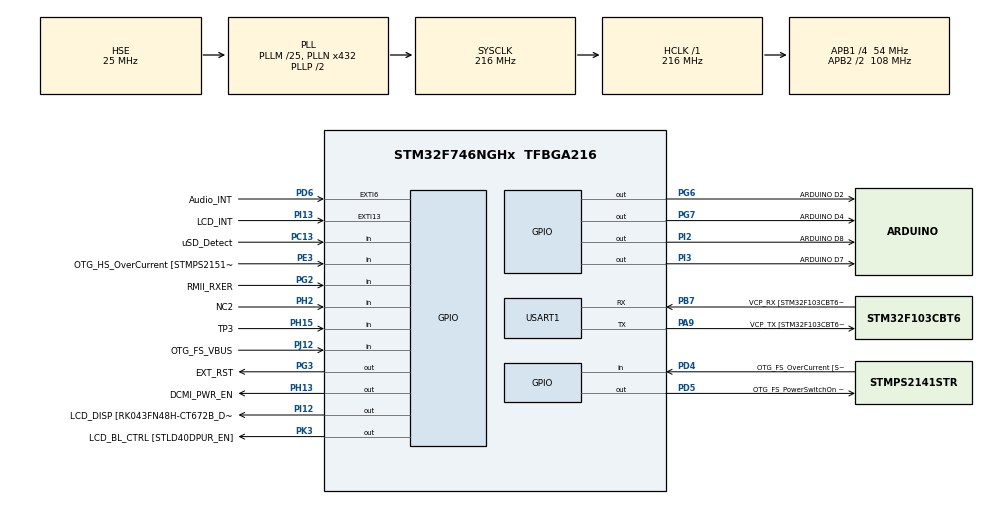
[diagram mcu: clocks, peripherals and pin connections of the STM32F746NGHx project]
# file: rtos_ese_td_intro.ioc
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FREERTOS.Tasks01=defaultTask,0,128,StartDefaultTask,Default,NULL,Dynamic,NULL,NULL
FREERTOS.configUSE_NEWLIB_REENTRANT=0
Mcu.Family=STM32F7
Mcu.Name=STM32F746NGHx
Mcu.Package=TFBGA216
NVIC.PriorityGroup=NVIC_PRIORITYGROUP_4
PA0/WKUP.GPIO_Label=ARDUINO A0
PA0/WKUP.GPIO_Mode=GPIO_MODE_ANALOG
PA0/WKUP.GPIO_PuPd=GPIO_NOPULL
PA0/WKUP.Signal=ADCx_IN0
PA1.GPIO_Label=RMII_REF_CLK [LAN8742A-CZ-TR_REFCLK0]
PA1.Signal=ETH_REF_CLK
PA10.GPIO_Label=OTG_FS_ID
PA10.Signal=USB_OTG_FS_ID
PA11.GPIO_Label=OTG_FS_N
PA11.Signal=USB_OTG_FS_DM
PA12.GPIO_Label=OTG_FS_P
PA12.Signal=USB_OTG_FS_DP
PA13.GPIO_Label=SWDIO
PA13.Mode=Serial_Wire
PA13.Signal=SYS_JTMS-SWDIO
PA14.GPIO_Label=SWCLK
PA14.Mode=Serial_Wire
PA14.Signal=SYS_JTCK-SWCLK
PA15.GPIO_Label=ARDUINO PWM/D9
PA15.GPIO_ModeDefaultPP=GPIO_MODE_AF_PP
PA15.GPIO_PuPd=GPIO_NOPULL
PA15.GPIO_Speed=GPIO_SPEED_FREQ_LOW
PA15.Signal=S_TIM2_CH1_ETR
PA2.GPIO_Label=RMII_MDIO [LAN8742A-CZ-TR_MDIO]
PA2.Signal=ETH_MDIO
PA3.GPIO_Label=ULPI_D0 [USB3320C-EZK_D0]
PA3.Signal=USB_OTG_HS_ULPI_D0
PA4.GPIO_Label=DCMI_HSYNC
PA4.Signal=DCMI_HSYNC
PA5.GPIO_Label=ULPI_CLK [USB3320C-EZK_CLKOUT]
PA5.Signal=USB_OTG_HS_ULPI_CK
PA6.Signal=DCMI_PIXCLK
PA7.GPIO_Label=RMII_CRS_DV [LAN8742A-CZ-TR_CRS_DV]
PA7.Signal=ETH_CRS_DV
PA8.GPIO_Label=ARDUINO PWM/D10
PA8.GPIO_ModeDefaultPP=GPIO_MODE_AF_PP
PA8.GPIO_PuPd=GPIO_NOPULL
PA8.GPIO_Speed=GPIO_SPEED_FREQ_LOW
PA8.Signal=S_TIM1_CH1
PA9.GPIO_Label=VCP_TX [STM32F103CBT6_PA3]
PA9.GPIO_Mode=GPIO_MODE_AF_PP
PA9.GPIO_PuPd=GPIO_NOPULL
PA9.GPIO_Speed=GPIO_SPEED_FREQ_LOW
PA9.Mode=Asynchronous
PA9.Signal=USART1_TX
PB0.GPIO_Label=ULPI_D1 [USB3320C-EZK_D1]
PB0.Signal=USB_OTG_HS_ULPI_D1
PB1.GPIO_Label=ULPI_D2 [USB3320C-EZK_D2]
PB1.Signal=USB_OTG_HS_ULPI_D2
PB10.GPIO_Label=ULPI_D3 [USB3320C-EZK_D3]
PB10.Signal=USB_OTG_HS_ULPI_D3
PB11.GPIO_Label=ULPI_D4 [USB3320C-EZK_D4]
PB11.Signal=USB_OTG_HS_ULPI_D4
PB12.GPIO_Label=ULPI_D5 [USB3320C-EZK_D5]
PB12.Signal=USB_OTG_HS_ULPI_D5
PB13.GPIO_Label=ULPI_D6 [USB3320C-EZK_D6]
PB13.Signal=USB_OTG_HS_ULPI_D6
PB14.GPIO_Label=ARDUINO MISO/D12
PB14.GPIO_Mode=GPIO_MODE_AF_PP
PB14.GPIO_PuPd=GPIO_NOPULL
PB14.GPIO_Speed=GPIO_SPEED_FREQ_LOW
PB14.Signal=SPI2_MISO
PB15.GPIO_Label=ARDUINO MOSI/PWM/D11
PB15.GPIO_Mode=GPIO_MODE_AF_PP
PB15.GPIO_PuPd=GPIO_NOPULL
PB15.GPIO_Speed=GPIO_SPEED_FREQ_LOW
PB15.Signal=SPI2_MOSI
PB2.Signal=QUADSPI_CLK
PB3.GPIO_Label=SWO
PB3.Signal=SYS_JTDO-SWO
PB4.GPIO_Label=ARDUINO PWM/D3
PB4.GPIO_ModeDefaultPP=GPIO_MODE_AF_PP
PB4.GPIO_PuPd=GPIO_NOPULL
PB4.GPIO_Speed=GPIO_SPEED_FREQ_LOW
PB4.Signal=S_TIM3_CH1
PB5.GPIO_Label=ULPI_D7 [USB3320C-EZK_D7]
PB5.Signal=USB_OTG_HS_ULPI_D7
PB6.GPIO_Label=QSPI_NCS [N25Q128A13EF840E_S]
PB6.Signal=QUADSPI_BK1_NCS
PB7.GPIO_Label=VCP_RX [STM32F103CBT6_PA2]
PB7.GPIO_Mode=GPIO_MODE_AF_PP
PB7.GPIO_PuPd=GPIO_NOPULL
PB7.GPIO_Speed=GPIO_SPEED_FREQ_LOW
PB7.Mode=Asynchronous
PB7.Signal=USART1_RX
PB8.GPIO_Label=ARDUINO SCL/D15
PB8.GPIO_Mode=GPIO_MODE_AF_OD
PB8.GPIO_PuPd=GPIO_NOPULL
PB8.GPIO_Speed=GPIO_SPEED_FREQ_LOW
PB8.Signal=I2C1_SCL
PB9.GPIO_Label=ARDUINO SDA/D14
PB9.GPIO_Mode=GPIO_MODE_AF_OD
PB9.GPIO_PuPd=GPIO_NOPULL
PB9.GPIO_Speed=GPIO_SPEED_FREQ_LOW
PB9.Signal=I2C1_SDA
PC0.GPIO_Label=ULPI_STP [USB3320C-EZK_STP]
PC0.Signal=USB_OTG_HS_ULPI_STP
PC1.GPIO_Label=RMII_MDC [LAN8742A-CZ-TR_MDC]
PC1.Signal=ETH_MDC
PC10.GPIO_Label=SDMMC_D2
PC10.Signal=SDMMC1_D2
PC11.GPIO_Label=SDMMC_D3
PC11.Signal=SDMMC1_D3
PC12.GPIO_Label=SDMMC_CK
PC12.Signal=SDMMC1_CK
PC13.GPIO_Label=uSD_Detect
PC13.Signal=GPIO_Input
PC14/OSC32_IN.GPIO_Label=RCC_OSC32_IN
PC14/OSC32_IN.Signal=RCC_OSC32_IN
PC15/OSC32_OUT.GPIO_Label=RCC_OSC32_OUT
PC15/OSC32_OUT.Signal=RCC_OSC32_OUT
PC2.GPIO_Label=ULPI_DIR [USB3320C-EZK_DIR]
PC2.Signal=USB_OTG_HS_ULPI_DIR
PC3.GPIO_Label=FMC_SDCKE0 [MT48LC4M32B2B5-6A_CKE]
PC3.Signal=FMC_SDCKE0
PC4.GPIO_Label=RMII_RXD0 [LAN8742A-CZ-TR_RXD0]
PC4.Signal=ETH_RXD0
PC5.GPIO_Label=RMII_RXD1 [LAN8742A-CZ-TR_RXD1]
PC5.Signal=ETH_RXD1
PC6.GPIO_Label=ARDUINO TX/D1
PC6.Signal=USART6_TX
PC7.GPIO_Label=ARDUINO RX/D0
PC7.Signal=USART6_RX
PC8.Signal=SDMMC1_D0
PC9.Signal=SDMMC1_D1
PD0.GPIO_Label=FMC_D2 [MT48LC4M32B2B5-6A_DQ2]
PD0.Signal=FMC_D2_DA2
PD1.GPIO_Label=FMC_D3 [MT48LC4M32B2B5-6A_DQ3]
PD1.Signal=FMC_D3_DA3
PD10.GPIO_Label=FMC_D15 [MT48LC4M32B2B5-6A_DQ15]
PD10.Signal=FMC_D15_DA15
PD11.GPIO_Label=QSPI_D0 [N25Q128A13EF840E_DQ0]
PD11.Signal=QUADSPI_BK1_IO0
PD12.GPIO_Label=QSPI_D1 [N25Q128A13EF840E_DQ1]
PD12.Signal=QUADSPI_BK1_IO1
PD13.GPIO_Label=QSPI_D3 [N25Q128A13EF840E_DQ3]
PD13.Signal=QUADSPI_BK1_IO3
PD14.GPIO_Label=FMC_D0 [MT48LC4M32B2B5-6A_DQ0]
PD14.Signal=FMC_D0_DA0
PD15.GPIO_Label=FMC_D1 [MT48LC4M32B2B5-6A_DQ1]
PD15.Signal=FMC_D1_DA1
PD2.GPIO_Label=SDMMC_D0
PD2.Signal=SDMMC1_CMD
PD3.GPIO_Label=DCMI_D5
PD3.Signal=DCMI_D5
PD4.GPIO_Label=OTG_FS_OverCurrent [STMPS2141STR_Fault]
PD4.Signal=GPIO_Input
PD5.GPIO_Label=OTG_FS_PowerSwitchOn [STMPS2141STR_EN]
PD5.PinState=GPIO_PIN_SET
PD5.Signal=GPIO_Output
PD6.GPIO_Label=Audio_INT
PD6.GPIO_ModeDefaultEXTI=GPIO_MODE_EVT_RISING
PD6.Signal=GPXTI6
PD7.GPIO_Label=SPDIF_RX0 [74LVC1G04SE_4]
PD7.Signal=SPDIFRX_IN0
PD8.GPIO_Label=FMC_D13 [MT48LC4M32B2B5-6A_DQ13]
PD8.Signal=FMC_D13_DA13
PD9.GPIO_Label=FMC_D14 [MT48LC4M32B2B5-6A_DQ14]
PD9.Signal=FMC_D14_DA14
PE0.GPIO_Label=FMC_NBL0 [MT48LC4M32B2B5-6A_DQM0]
PE0.Signal=FMC_NBL0
PE1.GPIO_Label=FMC_NBL1 [MT48LC4M32B2B5-6A_DQM1]
PE1.Signal=FMC_NBL1
PE10.GPIO_Label=FMC_D7 [MT48LC4M32B2B5-6A_DQ7]
PE10.Signal=FMC_D7_DA7
PE11.GPIO_Label=FMC_D8 [MT48LC4M32B2B5-6A_DQ8]
PE11.Signal=FMC_D8_DA8
PE12.GPIO_Label=FMC_D9 [MT48LC4M32B2B5-6A_DQ9]
PE12.Signal=FMC_D9_DA9
PE13.GPIO_Label=FMC_D10 [MT48LC4M32B2B5-6A_DQ10]
PE13.Signal=FMC_D10_DA10
PE14.GPIO_Label=FMC_D11 [MT48LC4M32B2B5-6A_DQ11]
PE14.Signal=FMC_D11_DA11
PE15.GPIO_Label=FMC_D12 [MT48LC4M32B2B5-6A_DQ12]
PE15.Signal=FMC_D12_DA12
PE2.GPIO_Label=QSPI_D2 [N25Q128A13EF840E_DQ2]
PE2.Signal=QUADSPI_BK1_IO2
PE3.GPIO_Label=OTG_HS_OverCurrent [STMPS2151STR_FAULT]
PE3.Signal=GPIO_Input
PE4.GPIO_Label=LCD_B0 [RK043FN48H-CT672B_B0]
PE4.Signal=LTDC_B0
PE5.GPIO_Label=DCMI_D6
PE5.Signal=DCMI_D6
PE6.GPIO_Label=DCMI_D7
PE6.Signal=DCMI_D7
PE7.GPIO_Label=FMC_D4 [MT48LC4M32B2B5-6A_DQ4]
PE7.Signal=FMC_D4_DA4
PE8.GPIO_Label=FMC_D5 [MT48LC4M32B2B5-6A_DQ5]
PE8.Signal=FMC_D5_DA5
PE9.GPIO_Label=FMC_D6 [MT48LC4M32B2B5-6A_DQ6]
PE9.Signal=FMC_D6_DA6
PF0.GPIO_Label=FMC_A0 [MT48LC4M32B2B5-6A_A0]
PF0.Signal=FMC_A0
PF1.GPIO_Label=FMC_A1 [MT48LC4M32B2B5-6A_A1]
PF1.Signal=FMC_A1
PF10.GPIO_Label=ARDUINO A1
PF10.GPIO_Mode=GPIO_MODE_ANALOG
PF10.GPIO_PuPd=GPIO_NOPULL
PF10.Signal=ADC3_IN8
PF11.GPIO_Label=FMC_SDNRAS [MT48LC4M32B2B5-6A_RAS]
PF11.Signal=FMC_SDNRAS
PF12.GPIO_Label=FMC_A6 [MT48LC4M32B2B5-6A_A6]
PF12.Signal=FMC_A6
PF13.GPIO_Label=FMC_A7 [MT48LC4M32B2B5-6A_A7]
PF13.Signal=FMC_A7
PF14.GPIO_Label=FMC_A8 [MT48LC4M32B2B5-6A_A8]
PF14.Signal=FMC_A8
PF15.GPIO_Label=FMC_A9 [MT48LC4M32B2B5-6A_A9]
PF15.Signal=FMC_A9
PF2.GPIO_Label=FMC_A2 [MT48LC4M32B2B5-6A_A2]
PF2.Signal=FMC_A2
PF3.GPIO_Label=FMC_A3 [MT48LC4M32B2B5-6A_A3]
PF3.Signal=FMC_A3
PF4.GPIO_Label=FMC_A4 [MT48LC4M32B2B5-6A_A4]
PF4.Signal=FMC_A4
PF5.GPIO_Label=FMC_A5 [MT48LC4M32B2B5-6A_A5]
PF5.Signal=FMC_A5
PF6.GPIO_Label=ARDUINO A5
PF6.GPIO_Mode=GPIO_MODE_ANALOG
PF6.GPIO_PuPd=GPIO_NOPULL
PF6.Signal=ADC3_IN4
PF7.GPIO_Label=ARDUINO A4
PF7.GPIO_Mode=GPIO_MODE_ANALOG
PF7.GPIO_PuPd=GPIO_NOPULL
PF7.Signal=ADC3_IN5
PF8.GPIO_Label=ARDUINO A3
PF8.GPIO_Mode=GPIO_MODE_ANALOG
PF8.GPIO_PuPd=GPIO_NOPULL
PF8.Signal=ADC3_IN6
PF9.GPIO_Label=ARDUINO A2
PF9.GPIO_Mode=GPIO_MODE_ANALOG
PF9.GPIO_PuPd=GPIO_NOPULL
PF9.Signal=ADC3_IN7
PG0.GPIO_Label=FMC_A10 [MT48LC4M32B2B5-6A_A10]
PG0.Signal=FMC_A10
PG1.GPIO_Label=FMC_A11 [MT48LC4M32B2B5-6A_A11]
PG1.Signal=FMC_A11
PG10.GPIO_Label=SAI2_SDB [WM8994ECS/R_ADCDAT1]
PG10.Signal=SAI2_SD_B
PG11.GPIO_Label=RMII_TX_EN [LAN8742A-CZ-TR_TXEN]
PG11.Signal=ETH_TX_EN
PG12.GPIO_Label=LCD_B4 [RK043FN48H-CT672B_B4]
PG12.Signal=LTDC_B4
PG13.GPIO_Label=RMII_TXD0 [LAN8742A-CZ-TR_TXD0]
PG13.Signal=ETH_TXD0
PG14.GPIO_Label=RMII_TXD1 [LAN8742A-CZ-TR_TXD1]
PG14.Signal=ETH_TXD1
PG15.GPIO_Label=FMC_SDNCAS [MT48LC4M32B2B5-6A_CAS]
PG15.Signal=FMC_SDNCAS
PG2.GPIO_Label=RMII_RXER
PG2.Signal=GPIO_Input
PG3.GPIO_Label=EXT_RST
PG3.Signal=GPIO_Output
PG4.GPIO_Label=FMC_BA0 [MT48LC4M32B2B5-6A_BA0]
PG4.Signal=FMC_A14_BA0
PG5.GPIO_Label=FMC_BA1 [MT48LC4M32B2B5-6A_BA1]
PG5.Signal=FMC_A15_BA1
PG6.GPIO_Label=ARDUINO D2
PG6.Signal=GPIO_Output
PG7.GPIO_Label=ARDUINO D4
PG7.Signal=GPIO_Output
PG8.GPIO_Label=FMC_SDCLK [MT48LC4M32B2B5-6A_CLK]
PG8.Signal=FMC_SDCLK
PG9.GPIO_Label=DCMI_VSYNC
PG9.Signal=DCMI_VSYNC
PH0/OSC_IN.GPIO_Label=OSC_25M [NZ2520SB-25.00M_OUT]
PH0/OSC_IN.Mode=HSE-External-Oscillator
PH0/OSC_IN.Signal=RCC_OSC_IN
PH1/OSC_OUT.Mode=HSE-External-Oscillator
PH1/OSC_OUT.Signal=RCC_OSC_OUT
PH10.GPIO_Label=DCMI_D1
PH10.Signal=DCMI_D1
PH11.GPIO_Label=DCMI_D2
PH11.Signal=DCMI_D2
PH12.GPIO_Label=DCMI_D3
PH12.Signal=DCMI_D3
PH13.GPIO_Label=DCMI_PWR_EN
PH13.Signal=GPIO_Output
PH14.GPIO_Label=DCMI_D4
PH14.Signal=DCMI_D4
PH15.GPIO_Label=TP3
PH15.Signal=GPIO_Input
PH2.GPIO_Label=NC2
PH2.Signal=GPIO_Input
PH3.GPIO_Label=FMC_SDNE0 [MT48LC4M32B2B5-6A_CS]
PH3.Signal=FMC_SDNE0
PH4.GPIO_Label=ULPI_NXT [USB3320C-EZK_NXT]
PH4.Signal=USB_OTG_HS_ULPI_NXT
PH5.GPIO_Label=FMC_SDNME [MT48LC4M32B2B5-6A_WE]
PH5.Signal=FMC_SDNWE
PH6.GPIO_Label=ARDUINO PWM/D6
PH6.Signal=S_TIM12_CH1
PH7.GPIO_Label=LCD_SCL [RK043FN48H-CT672B_SCL]
PH7.Signal=I2C3_SCL
PH8.GPIO_Label=LCD_SDA [RK043FN48H-CT672B_SDA]
PH8.Signal=I2C3_SDA
PH9.GPIO_Label=DCMI_D0
PH9.Signal=DCMI_D0
PI0.GPIO_Label=ARDUINO PWM/CS/D5
PI0.GPIO_ModeDefaultPP=GPIO_MODE_AF_PP
PI0.GPIO_PuPd=GPIO_NOPULL
PI0.GPIO_Speed=GPIO_SPEED_FREQ_LOW
PI0.Signal=S_TIM5_CH4
PI1.GPIO_Label=ARDUINO SCK/D13
PI1.GPIO_Mode=GPIO_MODE_AF_PP
PI1.GPIO_PuPd=GPIO_NOPULL
PI1.GPIO_Speed=GPIO_SPEED_FREQ_LOW
PI1.Signal=SPI2_SCK
PI10.GPIO_Label=LCD_HSYNC [RK043FN48H-CT672B_HSYNC]
PI10.Signal=LTDC_HSYNC
PI12.GPIO_Label=LCD_DISP [RK043FN48H-CT672B_DISP] 
PI12.Signal=GPIO_Output
PI13.GPIO_Label=LCD_INT
PI13.GPIO_ModeDefaultEXTI=GPIO_MODE_EVT_RISING
PI13.Signal=GPXTI13
PI14.GPIO_Label=LCD_CLK [RK043FN48H-CT672B_CLK]
PI14.Signal=LTDC_CLK
PI15.GPIO_Label=LCD_R0 [RK043FN48H-CT672B_R0]
PI15.Signal=LTDC_R0
PI2.GPIO_Label=ARDUINO D8
PI2.Signal=GPIO_Output
PI3.GPIO_Label=ARDUINO D7
PI3.Signal=GPIO_Output
PI4.GPIO_Label=SAI2_MCLKA [WM8994ECS/R_MCLK1]
PI4.Signal=SAI2_MCLK_A
PI5.GPIO_Label=SAI2_SCKA [WM8994ECS/R_BCLK1]
PI5.Signal=SAI2_SCK_A
PI6.GPIO_Label=SAI2_SDA [WM8994ECS/R_DACDAT1]
PI6.Signal=SAI2_SD_A
PI7.GPIO_Label=SAI2_FSA [WM8994ECS/R_LRCLK1]
PI7.Signal=SAI2_FS_A
PI8.GPIO_Label=NC1 [TP2]
PI8.Signal=RTC_TS
PI9.GPIO_Label=LCD_VSYNC [RK043FN48H-CT672B_VSYNC]
PI9.Signal=LTDC_VSYNC
PJ0.GPIO_Label=LCD_R1 [RK043FN48H-CT672B_R1]
PJ0.Signal=LTDC_R1
PJ1.GPIO_Label=LCD_R2 [RK043FN48H-CT672B_R2]
PJ1.Signal=LTDC_R2
PJ10.GPIO_Label=LCD_G3 [RK043FN48H-CT672B_G3]
PJ10.Signal=LTDC_G3
PJ11.GPIO_Label=LCD_G4 [RK043FN48H-CT672B_G4]
PJ11.Signal=LTDC_G4
PJ12.GPIO_Label=OTG_FS_VBUS
PJ12.Signal=GPIO_Input
PJ13.GPIO_Label=LCD_B1 [RK043FN48H-CT672B_B1]
PJ13.Signal=LTDC_B1
PJ14.GPIO_Label=LCD_B2 [RK043FN48H-CT672B_B2]
PJ14.Signal=LTDC_B2
PJ15.GPIO_Label=LCD_B3 [RK043FN48H-CT672B_B3]
PJ15.Signal=LTDC_B3
PJ2.GPIO_Label=LCD_R3 [RK043FN48H-CT672B_R3]
PJ2.Signal=LTDC_R3
PJ3.GPIO_Label=LCD_R4 [RK043FN48H-CT672B_R4]
PJ3.Signal=LTDC_R4
PJ4.GPIO_Label=LCD_R5 [RK043FN48H-CT672B_R5]
PJ4.Signal=LTDC_R5
PJ5.GPIO_Label=LCD_R6 [RK043FN48H-CT672B_R6]
PJ5.Signal=LTDC_R6
PJ6.GPIO_Label=LCD_R7 [RK043FN48H-CT672B_R7]
PJ6.Signal=LTDC_R7
PJ7.GPIO_Label=LCD_G0 [RK043FN48H-CT672B_G0]
PJ7.Signal=LTDC_G0
PJ8.GPIO_Label=LCD_G1 [RK043FN48H-CT672B_G1]
PJ8.Signal=LTDC_G1
PJ9.GPIO_Label=LCD_G2 [RK043FN48H-CT672B_G2]
PJ9.Signal=LTDC_G2
PK0.GPIO_Label=LCD_G5 [RK043FN48H-CT672B_G5]
PK0.Signal=LTDC_G5
PK1.GPIO_Label=LCD_G6 [RK043FN48H-CT672B_G6]
PK1.Signal=LTDC_G6
PK2.GPIO_Label=LCD_G7 [RK043FN48H-CT672B_G7]
PK2.Signal=LTDC_G7
PK3.GPIO_Label=LCD_BL_CTRL [STLD40DPUR_EN]
PK3.Signal=GPIO_Output
PK4.GPIO_Label=LCD_B5 [RK043FN48H-CT672B_B5]
PK4.Signal=LTDC_B5
PK5.GPIO_Label=LCD_B6 [RK043FN48H-CT672B_B6]
PK5.Signal=LTDC_B6
PK6.GPIO_Label=LCD_B7 [RK043FN48H-CT672B_B7]
PK6.Signal=LTDC_B7
PK7.GPIO_Label=LCD_DE [RK043FN48H-CT672B_DE]
PK7.Signal=LTDC_DE
ProjectManager.HeapSize=0x200
ProjectManager.StackSize=0x400
ProjectManager.TargetToolchain=STM32CubeIDE
RCC.AHBFreq_Value=216000000
RCC.APB1CLKDivider=RCC_HCLK_DIV4
RCC.APB1Freq_Value=54000000
RCC.APB1TimFreq_Value=108000000
RCC.APB2CLKDivider=RCC_HCLK_DIV2
RCC.APB2Freq_Value=108000000
RCC.APB2TimFreq_Value=216000000
RCC.CortexFreq_Value=216000000
RCC.HCLKFreq_Value=216000000
RCC.HSE_VALUE=25000000
RCC.HSI_VALUE=16000000
RCC.LSE_VALUE=32768
RCC.PLLM=25
RCC.PLLN=432
RCC.PLLSourceVirtual=RCC_PLLSOURCE_HSE
RCC.SYSCLKFreq_VALUE=216000000
RCC.SYSCLKSource=RCC_SYSCLKSOURCE_PLLCLK
RCC.USBFreq_Value=216000000
RCC.VCOOutputFreq_Value=432000000
SH.ADCx_IN0.0=ADC3_IN0
SH.FMC_A0.0=FMC_A0
SH.FMC_A1.0=FMC_A1
SH.FMC_A10.0=FMC_A10
SH.FMC_A11.0=FMC_A11
SH.FMC_A14_BA0.0=FMC_BA0
SH.FMC_A15_BA1.0=FMC_BA1
SH.FMC_A2.0=FMC_A2
SH.FMC_A3.0=FMC_A3
SH.FMC_A4.0=FMC_A4
SH.FMC_A5.0=FMC_A5
SH.FMC_A6.0=FMC_A6
SH.FMC_A7.0=FMC_A7
SH.FMC_A8.0=FMC_A8
SH.FMC_A9.0=FMC_A9
SH.FMC_D0_DA0.0=FMC_D0
SH.FMC_D10_DA10.0=FMC_D10
SH.FMC_D11_DA11.0=FMC_D11
SH.FMC_D12_DA12.0=FMC_D12
SH.FMC_D13_DA13.0=FMC_D13
SH.FMC_D14_DA14.0=FMC_D14
SH.FMC_D15_DA15.0=FMC_D15
SH.FMC_D1_DA1.0=FMC_D1
SH.FMC_D2_DA2.0=FMC_D2
SH.FMC_D3_DA3.0=FMC_D3
SH.FMC_D4_DA4.0=FMC_D4
SH.FMC_D5_DA5.0=FMC_D5
SH.FMC_D6_DA6.0=FMC_D6
SH.FMC_D7_DA7.0=FMC_D7
SH.FMC_D8_DA8.0=FMC_D8
SH.FMC_D9_DA9.0=FMC_D9
SH.FMC_NBL0.0=FMC_NBL0
SH.FMC_NBL1.0=FMC_NBL1
SH.FMC_SDCLK.0=FMC_SDCLK
SH.FMC_SDNCAS.0=FMC_SDNCAS
SH.FMC_SDNRAS.0=FMC_SDNRAS
SH.FMC_SDNWE.0=FMC_SDNWE
SH.S_TIM12_CH1.0=TIM12_CH1
SH.S_TIM1_CH1.0=TIM1_CH1
SH.S_TIM2_CH1_ETR.0=TIM2_CH1
SH.S_TIM3_CH1.0=TIM3_CH1
SH.S_TIM5_CH4.0=TIM5_CH4
USART1.VirtualMode-Asynchronous=VM_ASYNC
VP_FREERTOS_VS_CMSIS_V1.Mode=CMSIS_V1
board=STM32F746G-DISCO

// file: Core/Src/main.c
/* USER CODE BEGIN Header */
/**
 ******************************************************************************
 * @file           : main.c
 * @brief          : Main program body
 ******************************************************************************
 * @attention
 *
 * Copyright (c) 2022 STMicroelectronics.
 * All rights reserved.
 *
 * This software is licensed under terms that can be found in the LICENSE file
 * in the root directory of this software component.
 * If no LICENSE file comes with this software, it is provided AS-IS.
 *
 ******************************************************************************
 */
/* USER CODE END Header */
#include "main.h"
#include "cmsis_os.h"
#include "usart.h"
#include "gpio.h"

/* USER CODE BEGIN Includes */
#include <stdio.h>
/* USER CODE END Includes */

/* USER CODE BEGIN PTD */
#define STACK_DEPTH 1024
/* USER CODE END PTD */

/* USER CODE BEGIN PV */
int param1 = 1;
/* USER CODE END PV */

void SystemClock_Config(void);
void MX_FREERTOS_Init(void);

/* USER CODE BEGIN 0 */
int __io_putchar(int ch)
{
	HAL_UART_Transmit(&huart1, (uint8_t*)(&ch), 1, HAL_MAX_DELAY);

	return ch;
}

void task_code(void * param)
{
	int task_num = *(int*)param;
	int it = 0;
	char buffer[64];

	for (;;)
	{
		int size = snprintf(buffer, 64, "Task number %d, loop number %d\r\n", task_num, it++);
		while(HAL_OK != HAL_UART_Transmit(&huart1, (uint8_t*)buffer, size, HAL_MAX_DELAY));

		vTaskDelay(1000);
	}
}

/* USER CODE END 0 */

int main(void)
{

	/* MCU Configuration--------------------------------------------------------*/

	/* Reset of all peripherals, Initializes the Flash interface and the Systick. */
	HAL_Init();

	/* Configure the system clock */
	SystemClock_Config();

	/* Initialize all configured peripherals */
	MX_GPIO_Init();
	MX_USART1_UART_Init();
	/* USER CODE BEGIN 2 */
	printf("\r\n===== RTOS TD Intro =====\r\n");
	BaseType_t ret;

	ret = xTaskCreate(task_code, "Task1", STACK_DEPTH, (void*)(&param1), 2, NULL);
	configASSERT(ret == pdPASS);

	vTaskStartScheduler();
	/* USER CODE END 2 */

	/* Call init function for freertos objects (in freertos.c) */
	MX_FREERTOS_Init();

	/* Start scheduler */
	osKernelStart();

	/* We should never get here as control is now taken by the scheduler */
	/* Infinite loop */
	/* USER CODE BEGIN WHILE */
	int it = 0;

	while (1)
	{
		printf("Main loop %d\r\n", it++);
		HAL_Delay(1000);
		/* USER CODE END WHILE */

	}
}

void SystemClock_Config(void)
{
	RCC_OscInitTypeDef RCC_OscInitStruct = {0};
	RCC_ClkInitTypeDef RCC_ClkInitStruct = {0};

	/** Configure the main internal regulator output voltage
	 */
	__HAL_RCC_PWR_CLK_ENABLE();
	__HAL_PWR_VOLTAGESCALING_CONFIG(PWR_REGULATOR_VOLTAGE_SCALE1);

	/** Initializes the RCC Oscillators according to the specified parameters
	 * in the RCC_OscInitTypeDef structure.
	 */
	RCC_OscInitStruct.OscillatorType = RCC_OSCILLATORTYPE_HSE;
	RCC_OscInitStruct.HSEState = RCC_HSE_ON;
	RCC_OscInitStruct.PLL.PLLState = RCC_PLL_ON;
	RCC_OscInitStruct.PLL.PLLSource = RCC_PLLSOURCE_HSE;
	RCC_OscInitStruct.PLL.PLLM = 25;
	RCC_OscInitStruct.PLL.PLLN = 432;
	RCC_OscInitStruct.PLL.PLLP = RCC_PLLP_DIV2;
	RCC_OscInitStruct.PLL.PLLQ = 2;
	if (HAL_RCC_OscConfig(&RCC_OscInitStruct) != HAL_OK)
	{
		Error_Handler();
	}

	/** Activate the Over-Drive mode
	 */
	if (HAL_PWREx_EnableOverDrive() != HAL_OK)
	{
		Error_Handler();
	}

	/** Initializes the CPU, AHB and APB buses clocks
	 */
	RCC_ClkInitStruct.ClockType = RCC_CLOCKTYPE_HCLK|RCC_CLOCKTYPE_SYSCLK
			|RCC_CLOCKTYPE_PCLK1|RCC_CLOCKTYPE_PCLK2;
	RCC_ClkInitStruct.SYSCLKSource = RCC_SYSCLKSOURCE_PLLCLK;
	RCC_ClkInitStruct.AHBCLKDivider = RCC_SYSCLK_DIV1;
	RCC_ClkInitStruct.APB1CLKDivider = RCC_HCLK_DIV4;
	RCC_ClkInitStruct.APB2CLKDivider = RCC_HCLK_DIV2;

	if (HAL_RCC_ClockConfig(&RCC_ClkInitStruct, FLASH_LATENCY_7) != HAL_OK)
	{
		Error_Handler();
	}
}

void Error_Handler(void)
{
	__disable_irq();
	while (1)
	{
	}
}
